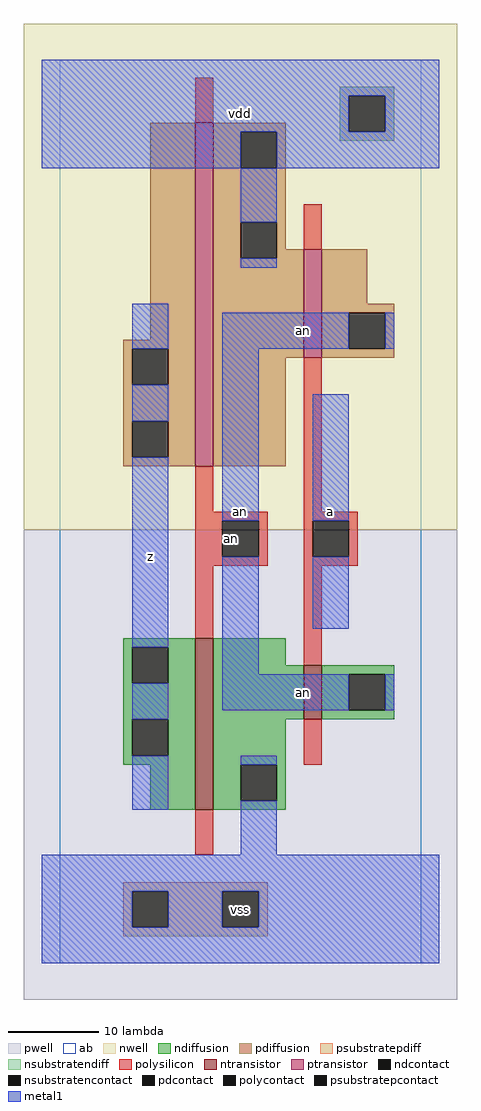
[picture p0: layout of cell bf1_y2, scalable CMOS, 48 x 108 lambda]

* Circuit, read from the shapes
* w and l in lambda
.subckt bf1_y2 a an vdd vss z
M1 vss an z vss nfet w=19 l=2
M2 an a vss vss nfet w=6 l=2
M3 vdd an z vdd pfet w=38 l=2
M4 an a vdd vdd pfet w=12 l=2
.ends

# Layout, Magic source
magic
tech scmos
<< ab >>
rect 0 0 40 100
<< pwell >>
rect -4 -4 44 48
<< nwell >>
rect -4 48 44 104
<< polysilicon >>
rect 15 93 17 98
rect 27 79 29 84
rect 15 50 17 55
rect 27 50 29 67
rect 15 49 23 50
rect 15 45 18 49
rect 22 45 23 49
rect 15 44 23 45
rect 27 49 33 50
rect 27 45 28 49
rect 32 45 33 49
rect 27 44 33 45
rect 15 36 17 44
rect 27 33 29 44
rect 27 22 29 27
rect 15 12 17 17
<< ndiffusion >>
rect 7 35 15 36
rect 7 31 8 35
rect 12 31 15 35
rect 7 27 15 31
rect 7 23 8 27
rect 12 23 15 27
rect 7 22 15 23
rect 10 17 15 22
rect 17 33 25 36
rect 17 27 27 33
rect 29 32 37 33
rect 29 28 32 32
rect 36 28 37 32
rect 29 27 37 28
rect 17 22 25 27
rect 17 18 20 22
rect 24 18 25 22
rect 17 17 25 18
<< pdiffusion >>
rect 10 69 15 93
rect 7 68 15 69
rect 7 64 8 68
rect 12 64 15 68
rect 7 60 15 64
rect 7 56 8 60
rect 12 56 15 60
rect 7 55 15 56
rect 17 92 25 93
rect 17 88 20 92
rect 24 88 25 92
rect 17 82 25 88
rect 17 78 20 82
rect 24 79 25 82
rect 24 78 27 79
rect 17 67 27 78
rect 29 73 34 79
rect 29 72 37 73
rect 29 68 32 72
rect 36 68 37 72
rect 29 67 37 68
rect 17 55 25 67
<< metal1 >>
rect -2 96 42 100
rect -2 92 32 96
rect 36 92 42 96
rect -2 88 20 92
rect 24 88 42 92
rect 20 82 24 88
rect 20 77 24 78
rect 8 68 12 73
rect 8 60 12 64
rect 8 35 12 56
rect 8 27 12 31
rect 18 68 32 72
rect 36 68 37 72
rect 18 49 22 68
rect 18 32 22 45
rect 28 49 32 63
rect 28 37 32 45
rect 18 28 32 32
rect 36 28 37 32
rect 8 17 12 23
rect 20 22 24 23
rect 20 12 24 18
rect -2 8 42 12
rect -2 4 8 8
rect 12 4 18 8
rect 22 4 42 8
rect -2 0 42 4
<< ntransistor >>
rect 15 17 17 36
rect 27 27 29 33
<< ptransistor >>
rect 15 55 17 93
rect 27 67 29 79
<< polycontact >>
rect 18 45 22 49
rect 28 45 32 49
<< ndcontact >>
rect 8 31 12 35
rect 8 23 12 27
rect 32 28 36 32
rect 20 18 24 22
<< pdcontact >>
rect 8 64 12 68
rect 8 56 12 60
rect 20 88 24 92
rect 20 78 24 82
rect 32 68 36 72
<< psubstratepcontact >>
rect 8 4 12 8
rect 18 4 22 8
<< nsubstratencontact >>
rect 32 92 36 96
<< psubstratepdiff >>
rect 7 8 23 9
rect 7 4 8 8
rect 12 4 18 8
rect 22 4 23 8
rect 7 3 23 4
<< nsubstratendiff >>
rect 31 96 37 97
rect 31 92 32 96
rect 36 92 37 96
rect 31 91 37 92
<< labels >>
rlabel polycontact 19 47 19 47 6 an
rlabel metal1 10 45 10 45 6 z
rlabel psubstratepcontact 20 6 20 6 6 vss
rlabel metal1 20 50 20 50 6 an
rlabel metal1 20 94 20 94 6 vdd
rlabel metal1 27 30 27 30 6 an
rlabel metal1 30 50 30 50 6 a
rlabel metal1 27 70 27 70 6 an
<< end >>
